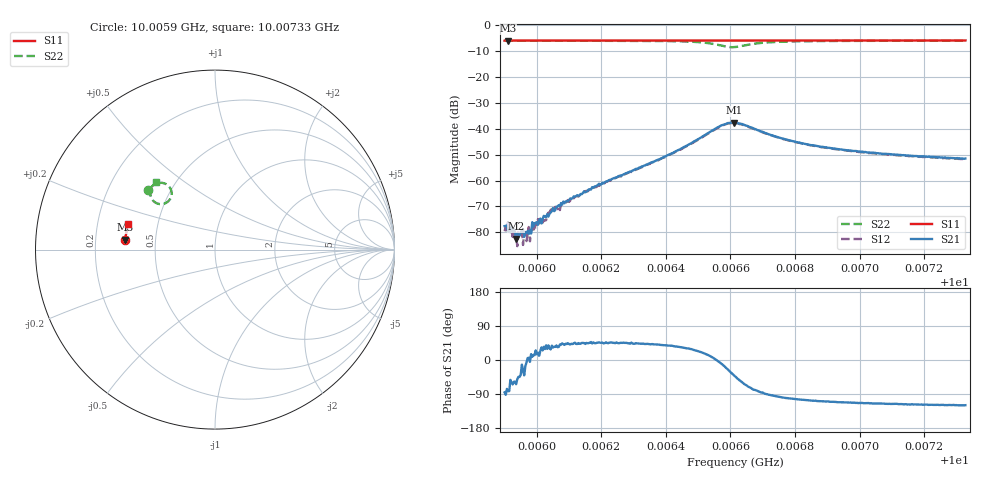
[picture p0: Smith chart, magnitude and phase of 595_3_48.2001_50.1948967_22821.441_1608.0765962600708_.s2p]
#  HZ  S  RI  R  50.00
! Rohde & Schwarz Vector Network Analyzer
! Rohde-Schwarz,ZNB20-2Port,1311601062101988,3.16
! Created: UTC 3/20/2024, 12:02:46 PM
! freq[Hz]  re:S11  im:S11  re:S21  im:S21  re:S12  im:S12  re:S22  im:S22
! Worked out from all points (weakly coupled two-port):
!   401 points, 10.0059 GHz to 10.00733 GHz, reference 50 ohm
!   highest |S21| = -37.64 dB at 10.00661 GHz (marker M1); lowest = -82.4 dB at 10.00594 GHz (marker M2)
!   lowest |S11| = -6.0 dB at 10.00591 GHz (marker M3), VSWR 3.02, Z = 16.6 + j2.45 ohm
!   |S11| at or under -10 dB: nowhere
!   |S22| runs from -8.5 to -6.0 dB; largest |S21 - S12| = 0.0009
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1.0005901e10  -0.4993 0.0544  1.07e-05 -0.000131  4.93e-05 -9.3e-05  -0.373 0.33
1.0005912e10  -0.4992 0.0552  1.38e-05 -0.000101  2.05e-05 -0.000153  -0.3726 0.3306
1.0005937e10  -0.4992 0.0569  3.33e-05 -6.8e-05  2.95e-05 -8.33e-05  -0.3711 0.3322
1.0005976e10  -0.499 0.0595  9.31e-05 1.03e-05  0.000126 -1.75e-05  -0.369 0.3348
1.0005987e10  -0.4988 0.0601  0.000155 2.32e-05  0.000116 2.31e-05  -0.3683 0.3355
1.0005994e10  -0.4988 0.0606  0.000147 3.3e-05  0.000104 5.51e-06  -0.3679 0.3359
1.0006004e10  -0.4988 0.0613  0.000132 4.65e-05  0.000166 6.97e-05  -0.3672 0.3366
1.0006026e10  -0.4986 0.0627  0.000178 9.82e-05  0.000152 7.36e-05  -0.366 0.338
1.000604e10  -0.4985 0.0637  0.000197 0.000115  0.000174 0.000168  -0.365 0.339
1.0006069e10  -0.4983 0.0655  0.000276 0.00019  0.000257 0.000181  -0.3632 0.341
1.000614e10  -0.4978 0.0701  0.000386 0.000386  0.000398 0.000388  -0.3583 0.3461
1.0006186e10  -0.4975 0.0732  0.000554 0.000561  0.000521 0.000553  -0.3546 0.3493
1.0006379e10  -0.4958 0.0858  0.00194 0.00166  0.00183 0.0017  -0.3308 0.3659
1.00065e10  -0.4942 0.0936  0.00578 0.00246  0.0055 0.00273  -0.2879 0.3706
1.0006568e10  -0.4929 0.0978  0.0111 -0.00135  0.0109 -0.000707  -0.243 0.3263
1.0006611e10  -0.4923 0.0996  0.00999 -0.00851  0.0103 -0.00773  -0.2671 0.2637
1.0006614e10  -0.4925 0.0998  0.0096 -0.00892  0.00991 -0.00814  -0.2722 0.2605
1.0006693e10  -0.4924 0.1047  0.000767 -0.00892  0.00128 -0.00889  -0.352 0.2827
1.0006761e10  -0.492 0.1091  -0.00101 -0.00638  -0.000635 -0.00637  -0.3603 0.3138
1.0006853e10  -0.4908 0.1152  -0.00144 -0.0046  -0.00115 -0.00462  -0.3562 0.3363
1.0007092e10  -0.4875 0.1305  -0.0014 -0.00292  -0.00127 -0.00289  -0.3409 0.3628
1.0007328e10  -0.4839 0.1453  -0.0013 -0.00232  -0.0012 -0.0023  -0.3275 0.3786
